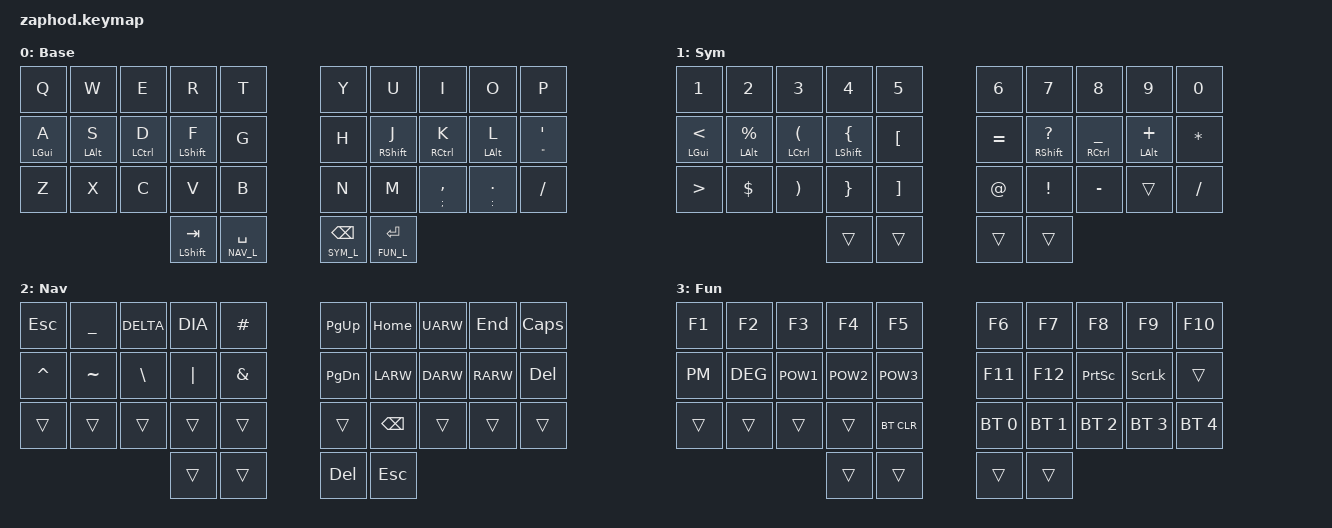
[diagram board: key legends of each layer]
/*
 * Copyright (c) 2022 dfeagans
 *
 * SPDX-License-Identifier: MIT
 */

#include <behaviors.dtsi>
#include <dt-bindings/zmk/keys.h>
#include <dt-bindings/zmk/bt.h>
#include <dt-bindings/zmk/outputs.h>

#define BAS_L 0
#define SYM_L 1
#define NAV_L 2
#define FUN_L 3


// Using layer taps on thumbs, having quick tap as well helps w/ repeating space/backspace
&lt { quick_tap_ms = <200>; };

/ {
    behaviors {
        hm: homerow_mods {
            compatible = "zmk,behavior-hold-tap";
            label = "homerow mods";
            #binding-cells = <2>;
            tapping_term_ms = <200>;
            flavor = "tap-preferred";
            bindings = <&kp>, <&kp>;
        };
    };


    macros {
        DIA: DIA {
            label = "Diameter";
            compatible = "zmk,behavior-macro";
            #binding-cells = <0>;
            bindings
                = <&macro_press   &kp LALT>
                , <&macro_tap     &kp KP_N0 &kp KP_N2 &kp KP_N1 &kp KP_N6>
                , <&macro_release &kp LALT>
                ;
        };
        DEG: DEG {
            label = "Degrees";
            compatible = "zmk,behavior-macro";
            #binding-cells = <0>;
            bindings
                = <&macro_press   &kp LALT>
                , <&macro_tap     &kp KP_N0 &kp KP_N1 &kp KP_N7 &kp KP_N6>
                , <&macro_release &kp LALT>
                ;
        };
        PM: PM {
            label = "PlusMinus";
            compatible = "zmk,behavior-macro";
            #binding-cells = <0>;
            bindings
                = <&macro_press   &kp LALT>
                , <&macro_tap     &kp KP_N2 &kp KP_N4 &kp KP_N1>
                , <&macro_release &kp LALT>
                ;
        };
        DELTA: DELTA {
            label = "Delta Triangle";
            compatible = "zmk,behavior-macro";
            #binding-cells = <0>;
            bindings
                = <&macro_press   &kp LALT>
                , <&macro_tap     &kp KP_N3 &kp KP_N0>
                , <&macro_release &kp LALT>
                ;
        };
        POW1: POW1 {
            label = "Power 1";
            compatible = "zmk,behavior-macro";
            #binding-cells = <0>;
            bindings
                = <&macro_press   &kp LALT>
                , <&macro_tap     &kp KP_N0 &kp KP_N1 &kp KP_N8 &kp KP_N5>
                , <&macro_release &kp LALT>
                ;
        }; 
        POW2: POW2 {
            label = "Power 2";
            compatible = "zmk,behavior-macro";
            #binding-cells = <0>;
            bindings
                = <&macro_press   &kp LALT>
                , <&macro_tap     &kp KP_N0 &kp KP_N1 &kp KP_N7 &kp KP_N8>
                , <&macro_release &kp LALT>
                ;
        };
        POW3: POW3 {
            label = "Power 3";
            compatible = "zmk,behavior-macro";
            #binding-cells = <0>;
            bindings
                = <&macro_press   &kp LALT>
                , <&macro_tap     &kp KP_N0 &kp KP_N1 &kp KP_N7 &kp KP_N9>
                , <&macro_release &kp LALT>
                ;
        }; 
    };
    
    
    keymap {
        compatible = "zmk,keymap";

        default_layer {
            label = "Base";
            bindings = <
                &kp Q      &kp W      &kp E       &kp R          &kp T            &kp Y            &kp U          &kp I           &kp O          &kp P
                &hm LGUI A &hm LALT S &hm LCTRL D &hm LSHFT F    &kp G            &kp H            &hm RSHFT J    &hm RCTRL K     &hm LALT L     &hm DQT QUOT
                &kp Z      &kp X      &kp C       &kp V          &kp B            &kp N            &kp M          &mt SEMI COMMA  &mt COLON DOT  &kp FSLH
                                                  &hm LSHFT TAB  &lt NAV_L SPACE  &lt SYM_L BKSP    &lt FUN_L RET
            >;
        };
        
        
        sym_layer {
            label = "Sym";
            bindings = <
                &kp N1      &kp N2          &kp N3          &kp N4           &kp N5    &kp N6       &kp N7           &kp N8            &kp N9          &kp N0
                &hm LGUI LT &hm LALT PRCNT  &hm LCTRL LPAR  &hm LSHFT LBRC   &kp LBKT  &kp EQUAL    &hm RSHFT QMARK  &hm RCTRL UNDER   &hm LALT PLUS   &kp STAR
                &kp GT      &kp DLLR        &kp RPAR        &kp RBRC         &kp RBKT  &kp AT       &kp EXCL         &kp MINUS         &trans          &kp FSLH
                                                            &trans           &trans    &trans       &trans
            >;
        };
        
        nav_layer {
            label = "Nav";
            bindings = <
                &kp ESC    &kp UNDER  &DELTA      &DIA           &kp HASH      &kp PG_UP        &kp HOME       &kp UARW    &kp END    &kp CAPS
                &kp CARET  &kp TILDE  &kp BSLH    &kp PIPE        &kp AMPS      &kp PG_DN        &kp LARW       &kp DARW    &kp RARW   &kp DEL
                &trans     &trans     &trans      &trans          &trans        &trans           &kp BKSP       &trans      &trans     &trans
                                                  &trans          &trans        &kp DEL          &kp ESC
            >;
        };
       
        fun_layer {
            label = "Fun";
            bindings = <
                &kp F1     &kp F2     &kp F3      &kp F4     &kp F5      &kp F6        &kp F7         &kp F8         &kp F9        &kp F10
                &PM        &DEG       &POW1       &POW2      &POW3       &kp F11       &kp F12        &kp PSCRN      &kp SLCK      &trans
                &trans     &trans     &trans      &trans     &bt BT_CLR  &bt BT_SEL 0  &bt BT_SEL 1   &bt BT_SEL 2   &bt BT_SEL 3  &bt BT_SEL 4
                                                  &trans     &trans      &trans        &trans
            >;
        };
    };
};
